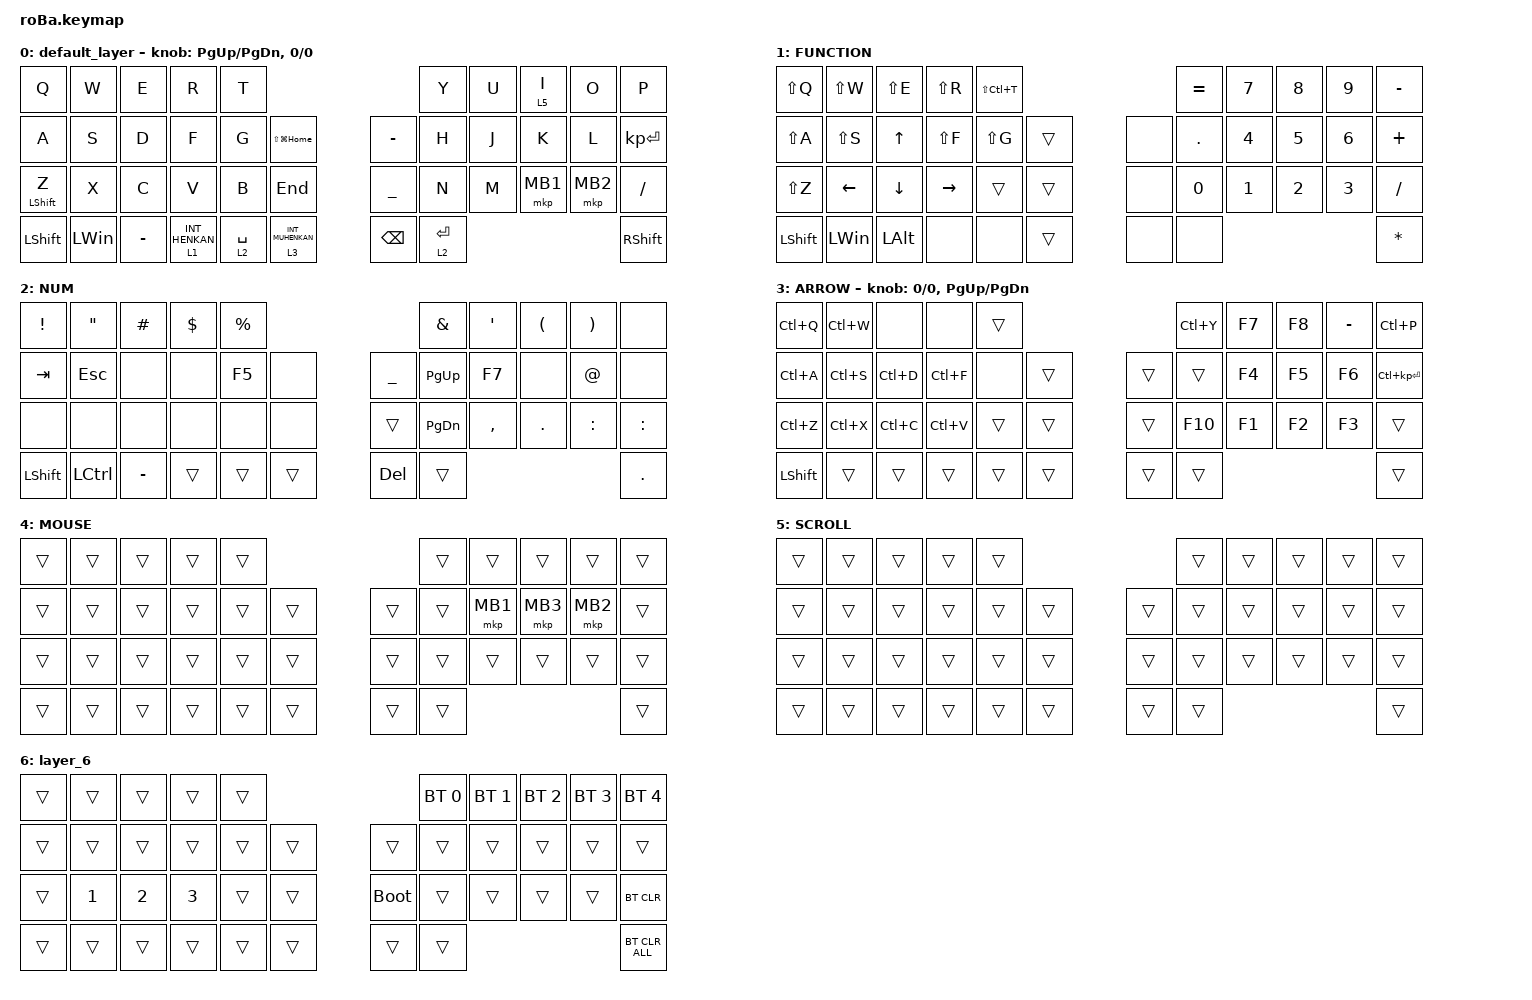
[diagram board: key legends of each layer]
#include <behaviors.dtsi>
#include <dt-bindings/zmk/bt.h>
#include <dt-bindings/zmk/keys.h>
#include <dt-bindings/zmk/pointing.h>

#define MOUSE 4
#define SCROLL 5
#define NUM 6

&mt {
    flavor = "balanced";
    quick-tap-ms = <0>;
};

/ {
    combos {
        compatible = "zmk,combos";

        tab {
            bindings = <&kp TAB>;
            key-positions = <11 12>;
        };

        shift_tab {
            bindings = <&kp LS(TAB)>;
            key-positions = <12 13>;
        };

        muhennkann {
            bindings = <&to_layer_0 INT_MUHENKAN>;
            key-positions = <11 10>;
        };

        double_quotation {
            bindings = <&kp DOUBLE_QUOTES>;
            key-positions = <20 21>;
        };

        eq {
            bindings = <&kp EQUAL>;
            key-positions = <24 25>;
        };
    };

    macros {
        to_layer_0: to_layer_0 {
            compatible = "zmk,behavior-macro-one-param";
            #binding-cells = <1>;
            bindings = <&to 0 &macro_param_1to1 &kp MACRO_PLACEHOLDER>;
            label = "TO_LAYER_0";
        };
    };

    behaviors {
        lt_to_layer_0: lt_to_layer_0 {
            compatible = "zmk,behavior-hold-tap";
            label = "LAYER_TAP_TO_0";
            bindings = <&mo>, <&to_layer_0>;

            #binding-cells = <2>;
            tapping-term-ms = <200>;
        };
    };

    keymap {
        compatible = "zmk,keymap";

        default_layer {
            bindings = <
&kp Q             &kp W         &kp E      &kp R                        &kp T                                                          &kp Y        &kp U  &lt 5 I   &kp O     &kp P
&kp A             &kp S         &kp D      &kp F                        &kp G        &kp LS(LG(HOME))                   &kp MINUS      &kp H        &kp J  &kp K     &kp L     &kp KP_ENTER
&mt LEFT_SHIFT Z  &kp X         &kp C      &kp V                        &kp B        &kp END                            &kp UNDER      &kp N        &kp M  &mkp MB1  &mkp MB2  &kp SLASH
&kp LEFT_SHIFT    &kp LEFT_WIN  &kp MINUS  &lt_to_layer_0 1 INT_HENKAN  &lt 2 SPACE  &lt_to_layer_0 3 INT_MUHENKAN      &kp BACKSPACE  &lt 2 ENTER                             &kp RIGHT_SHIFT
            >;

            sensor-bindings = <&inc_dec_kp PG_UP PAGE_DOWN>, <&inc_dec_kp 0 0>;
        };

        FUNCTION {
            bindings = <
&kp LS(Q)       &kp LS(W)     &kp LS(E)     &kp LS(R)  &kp LS(LC(T))                     &kp EQUAL     &kp NUMBER_7  &kp NUMBER_8  &kp NUMBER_9  &kp MINUS
&kp LS(A)       &kp LS(S)     &kp UP        &kp LS(F)  &kp LS(G)      &trans      &none  &kp PERIOD    &kp NUMBER_4  &kp NUMBER_5  &kp NUMBER_6  &kp PLUS
&kp LS(Z)       &kp LEFT      &kp DOWN      &kp RIGHT  &trans         &trans      &none  &kp NUMBER_0  &kp NUMBER_1  &kp NUMBER_2  &kp NUMBER_3  &kp SLASH
&kp LEFT_SHIFT  &kp LEFT_WIN  &kp LEFT_ALT  &none      &none          &trans      &none  &none                                                   &kp ASTERISK
            >;
        };

        NUM {
            bindings = <
&kp EXCLAMATION  &kp DOUBLE_QUOTES  &kp HASH   &kp DOLLAR  &kp PERCENT                              &kp AMPERSAND  &kp SQT    &kp LEFT_PARENTHESIS  &kp RIGHT_PARENTHESIS  &none
&kp TAB          &kp ESC            &none      &none       &kp F5       &none       &kp UNDERSCORE  &kp PAGE_UP    &kp F7     &none                 &kp AT_SIGN            &none
&none            &none              &none      &none       &none        &none       &trans          &kp PAGE_DOWN  &kp COMMA  &kp PERIOD            &kp COLON              &kp COLON
&kp LEFT_SHIFT   &kp LEFT_CONTROL   &kp MINUS  &trans      &trans       &trans      &kp DEL         &trans                                                                 &kp PERIOD
            >;
        };

        ARROW {
            bindings = <
&kp LC(Q)       &kp LC(W)  &none      &none      &trans                      &kp LC(Y)  &kp F7  &kp F8  &kp MINUS  &kp LC(P)
&kp LC(A)       &kp LC(S)  &kp LC(D)  &kp LC(F)  &none   &trans      &trans  &trans     &kp F4  &kp F5  &kp F6     &kp LC(KP_ENTER)
&kp LC(Z)       &kp LC(X)  &kp LC(C)  &kp LC(V)  &trans  &trans      &trans  &kp F10    &kp F1  &kp F2  &kp F3     &trans
&kp LEFT_SHIFT  &trans     &trans     &trans     &trans  &trans      &trans  &trans                                &trans
            >;

            sensor-bindings =
                <&inc_dec_kp 0 0>,
                <&inc_dec_kp PAGE_UP PAGE_DOWN>;
        };

        MOUSE {
            bindings = <
&trans  &trans  &trans  &trans  &trans                      &trans  &trans    &trans    &trans    &trans
&trans  &trans  &trans  &trans  &trans  &trans      &trans  &trans  &mkp MB1  &mkp MB3  &mkp MB2  &trans
&trans  &trans  &trans  &trans  &trans  &trans      &trans  &trans  &trans    &trans    &trans    &trans
&trans  &trans  &trans  &trans  &trans  &trans      &trans  &trans                                &trans
            >;
        };

        SCROLL {
            bindings = <
&trans  &trans  &trans  &trans  &trans                      &trans  &trans  &trans  &trans  &trans
&trans  &trans  &trans  &trans  &trans  &trans      &trans  &trans  &trans  &trans  &trans  &trans
&trans  &trans  &trans  &trans  &trans  &trans      &trans  &trans  &trans  &trans  &trans  &trans
&trans  &trans  &trans  &trans  &trans  &trans      &trans  &trans                          &trans
            >;
        };

        layer_6 {
            bindings = <
&trans  &trans        &trans        &trans        &trans                           &bt BT_SEL 0  &bt BT_SEL 1  &bt BT_SEL 2  &bt BT_SEL 3  &bt BT_SEL 4
&trans  &trans        &trans        &trans        &trans  &trans      &trans       &trans        &trans        &trans        &trans        &trans
&trans  &kp NUMBER_1  &kp NUMBER_2  &kp NUMBER_3  &trans  &trans      &bootloader  &trans        &trans        &trans        &trans        &bt BT_CLR
&trans  &trans        &trans        &trans        &trans  &trans      &trans       &trans                                                  &bt BT_CLR_ALL
            >;
        };
    };
};
